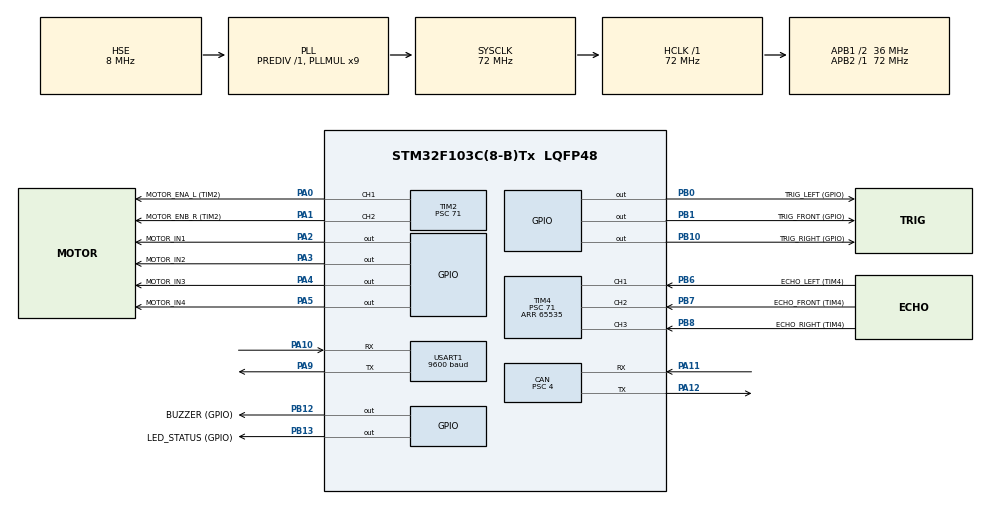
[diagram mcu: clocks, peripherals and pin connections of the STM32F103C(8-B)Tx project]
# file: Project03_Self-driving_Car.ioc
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CAN.BS1=CAN_BS1_15TQ
CAN.BS2=CAN_BS2_2TQ
CAN.CalculateBaudRate=500000
CAN.CalculateTimeBit=2000
CAN.CalculateTimeQuantum=111.11111111111111
CAN.NART=ENABLE
CAN.Prescaler=4
FREERTOS.Mutexes01=DriveModeMutex,Dynamic,NULL,Available
FREERTOS.Tasks01=TrigTask,0,128,StartTrigTask,Default,NULL,Dynamic,NULL,NULL;CtrlTask,1,256,StartCtrlTask,Default,NULL,Dynamic,NULL,NULL;CanRxTask,2,256,StartCanRxTask,As external,NULL,Dynamic,NULL,NULL;CanTxTask,-2,128,StartCanTxTask,As external,NULL,Dynamic,NULL,NULL
FREERTOS.configTOTAL_HEAP_SIZE=10240
Mcu.Family=STM32F1
Mcu.Name=STM32F103C(8-B)Tx
Mcu.Package=LQFP48
NVIC.PriorityGroup=NVIC_PRIORITYGROUP_4
NVIC.TIM4_IRQn=true\:5\:0\:false\:false\:true\:true\:true\:true\:true
NVIC.USART1_IRQn=true\:5\:0\:false\:false\:true\:true\:true\:true\:true
NVIC.USB_LP_CAN1_RX0_IRQn=true\:5\:0\:false\:false\:true\:true\:true\:true\:true
PA0-WKUP.GPIO_Label=MOTOR_ENA_L (TIM2)
PA0-WKUP.Signal=S_TIM2_CH1_ETR
PA1.GPIO_Label=MOTOR_ENB_R (TIM2)
PA1.Signal=S_TIM2_CH2
PA10.Mode=Asynchronous
PA10.Signal=USART1_RX
PA11.GPIO_Mode=GPIO_MODE_INPUT
PA11.GPIO_PuPd=GPIO_NOPULL
PA11.Mode=CAN_Activate
PA11.Signal=CAN_RX
PA12.Mode=CAN_Activate
PA12.Signal=CAN_TX
PA13.Mode=Serial_Wire
PA13.Signal=SYS_JTMS-SWDIO
PA14.Mode=Serial_Wire
PA14.Signal=SYS_JTCK-SWCLK
PA2.GPIO_Label=MOTOR_IN1
PA2.Signal=GPIO_Output
PA3.GPIO_Label=MOTOR_IN2
PA3.Signal=GPIO_Output
PA4.GPIO_Label=MOTOR_IN3
PA4.Signal=GPIO_Output
PA5.GPIO_Label=MOTOR_IN4
PA5.Signal=GPIO_Output
PA9.Mode=Asynchronous
PA9.Signal=USART1_TX
PB0.GPIO_Label=TRIG_LEFT (GPIO)
PB0.Signal=GPIO_Output
PB1.GPIO_Label=TRIG_FRONT (GPIO)
PB1.Signal=GPIO_Output
PB10.GPIO_Label=TRIG_RIGHT (GPIO)
PB10.Signal=GPIO_Output
PB12.GPIO_Label=BUZZER (GPIO)
PB12.Signal=GPIO_Output
PB13.GPIO_Label=LED_STATUS (GPIO)
PB13.Signal=GPIO_Output
PB6.GPIO_Label=ECHO_LEFT (TIM4)
PB6.Signal=S_TIM4_CH1
PB7.GPIO_Label=ECHO_FRONT (TIM4)
PB7.Signal=S_TIM4_CH2
PB8.GPIO_Label=ECHO_RIGHT (TIM4)
PB8.Signal=S_TIM4_CH3
PD0-OSC_IN.Mode=HSE-External-Oscillator
PD0-OSC_IN.Signal=RCC_OSC_IN
PD1-OSC_OUT.Mode=HSE-External-Oscillator
PD1-OSC_OUT.Signal=RCC_OSC_OUT
ProjectManager.HeapSize=0x200
ProjectManager.StackSize=0x400
ProjectManager.TargetToolchain=STM32CubeIDE
RCC.AHBFreq_Value=72000000
RCC.APB1CLKDivider=RCC_HCLK_DIV2
RCC.APB1Freq_Value=36000000
RCC.APB1TimFreq_Value=72000000
RCC.APB2Freq_Value=72000000
RCC.APB2TimFreq_Value=72000000
RCC.HCLKFreq_Value=72000000
RCC.PLLMUL=RCC_PLL_MUL9
RCC.PLLSourceVirtual=RCC_PLLSOURCE_HSE
RCC.SYSCLKFreq_VALUE=72000000
RCC.SYSCLKSource=RCC_SYSCLKSOURCE_PLLCLK
RCC.USBFreq_Value=72000000
SH.S_TIM2_CH1_ETR.0=TIM2_CH1,PWM Generation1 CH1
SH.S_TIM2_CH2.0=TIM2_CH2,PWM Generation2 CH2
SH.S_TIM4_CH1.0=TIM4_CH1,Input_Capture1_from_TI1
SH.S_TIM4_CH2.0=TIM4_CH2,Input_Capture2_from_TI2
SH.S_TIM4_CH3.0=TIM4_CH3,Input_Capture3_from_TI3
TIM2.Channel-PWM\ Generation1\ CH1=TIM_CHANNEL_1
TIM2.Channel-PWM\ Generation2\ CH2=TIM_CHANNEL_2
TIM2.Period=999
TIM2.Prescaler=71
TIM4.Channel-Input_Capture1_from_TI1=TIM_CHANNEL_1
TIM4.Channel-Input_Capture2_from_TI2=TIM_CHANNEL_2
TIM4.Channel-Input_Capture3_from_TI3=TIM_CHANNEL_3
TIM4.Period=65535
TIM4.Prescaler=71
USART1.BaudRate=9600
USART1.VirtualMode=VM_ASYNC
VP_FREERTOS_VS_CMSIS_V1.Mode=CMSIS_V1
board=custom

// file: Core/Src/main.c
/* USER CODE BEGIN Header */
/**
  ******************************************************************************
  * @file           : main.c
  * @brief          : Main program body
  *
  * [수정 사항]
  * 1. AUTOSAR-lite 3계층(ASW/RTE/BSW) 구조로 재편 (ecu_l298n/ecu_hcsr04/
  *    mcal_can/rte_mode_manager/rte_motor/rte_sensor/asw_manual_control/asw_autonomous)
  * 2. 초기화 순서: BSW/ECU(RTE 경유) -> RTE -> BSW/MCAL -> ASW
  * 3. CAN Rx FIFO0 콜백을 mcal_can 모듈로 위임
  * 4. osKernelStart() 이후 도달 불가능한 코드 없음 (Error_Handler 자체가
  *    내부 무한루프이므로 그 아래에는 어떤 코드도 올 수 없음)
  ******************************************************************************
  * @attention
  *
  * Copyright (c) 2026 STMicroelectronics.
  * All rights reserved.
  *
  * This software is licensed under terms that can be found in the LICENSE file
  * in the root directory of this software component.
  * If no LICENSE file comes with this software, it is provided AS-IS.
  *
  ******************************************************************************
  */
/* USER CODE END Header */
#include "main.h"
#include "cmsis_os.h"
#include "can.h"
#include "tim.h"
#include "usart.h"
#include "gpio.h"

/* USER CODE BEGIN Includes */
#include <stdio.h>   /* printf/setvbuf/stdout 사용 */
#include "rte_motor.h"
#include "rte_sensor.h"
#include "mcal_can.h"
#include "rte_mode_manager.h"
#include "asw_manual_control.h"
#include "asw_autonomous.h"
#include "mcal_bt_serial.h"
/* USER CODE END Includes */

void SystemClock_Config(void);
void MX_FREERTOS_Init(void);

int main(void)
{

  /* USER CODE BEGIN 1 */
  /* newlib-nano 기본값은 non-tty stdout을 Full-Buffered로 취급해서
     버퍼가 다 찰 때까지(또는 fflush) printf가 실제로 나가지 않는다.
     임베디드는 exit()이 없으므로 반드시 Unbuffered로 강제해야
     디버그 로그가 즉시 시리얼 터미널에 출력된다. */
  setvbuf(stdout, NULL, _IONBF, 0);
  /* USER CODE END 1 */

  /* MCU Configuration--------------------------------------------------------*/

  /* Reset of all peripherals, Initializes the Flash interface and the Systick. */
  HAL_Init();

  /* Configure the system clock */
  SystemClock_Config();

  /* Initialize all configured peripherals */
  MX_GPIO_Init();
  MX_TIM2_Init();
  MX_TIM4_Init();
  MX_USART1_UART_Init();
  MX_CAN_Init();
  /* USER CODE BEGIN 2 */
  /* ---- 계층 순서대로 초기화: BSW/ECU(RTE 경유) -> RTE -> BSW/MCAL -> ASW ----
   * 1) BSW/ECU : 모터 PWM 시작, 초음파 IC 시작 (하드웨어 최우선 기동, RTE 경유)
   * 2) RTE     : 주행모드 Mutex 준비
   * 3) BSW/MCAL: CAN Mail Queue/필터/인터럽트 준비
   * 4) ASW     : 수동/자율 로직 초기 상태(정지) 세팅
   *
   * RTE_Mode_Init()이 MCAL_CAN_Init()보다 먼저 와야 하는 이유:
   *   CAN RX 인터럽트가 활성화된 순간부터 ASW_Manual_ApplyCanCommand()가
   *   RTE_Mode_SetDriveMode()를 호출할 수 있으므로, Mutex가
   *   미리 생성되어 있어야 함.
   */
  RTE_Motor_Init();
  RTE_Sensor_Init();

  RTE_Mode_Init();
  MCAL_CAN_Init();
  MCAL_BtSerial_Init();

  ASW_Manual_Init();
  ASW_Autonomous_Init();

  printf("\r\n[BOOT] Node2 (STM32F103C8T6) Ready - Mode=MANUAL, CAN=500kbps\r\n");
  /* USER CODE END 2 */

  /* Call init function for freertos objects (in cmsis_os2.c) */
  MX_FREERTOS_Init();

  /* Start scheduler */
  osKernelStart();

  /* We should never get here as control is now taken by the scheduler */

  /* Infinite loop */
  /* USER CODE BEGIN WHILE */
  /* 여기까지 오면 스케줄러 시작 실패 -> 안전하게 정지
     (Error_Handler() 내부가 이미 무한루프이므로 이 아래에는
      어떤 코드도 올 수 없다) */
  Error_Handler();
  /* USER CODE END WHILE */

}

void SystemClock_Config(void)
{
  RCC_OscInitTypeDef RCC_OscInitStruct = {0};
  RCC_ClkInitTypeDef RCC_ClkInitStruct = {0};

  /** Initializes the RCC Oscillators according to the specified parameters
  * in the RCC_OscInitTypeDef structure.
  */
  RCC_OscInitStruct.OscillatorType = RCC_OSCILLATORTYPE_HSE;
  RCC_OscInitStruct.HSEState = RCC_HSE_ON;
  RCC_OscInitStruct.HSEPredivValue = RCC_HSE_PREDIV_DIV1;
  RCC_OscInitStruct.HSIState = RCC_HSI_ON;
  RCC_OscInitStruct.PLL.PLLState = RCC_PLL_ON;
  RCC_OscInitStruct.PLL.PLLSource = RCC_PLLSOURCE_HSE;
  RCC_OscInitStruct.PLL.PLLMUL = RCC_PLL_MUL9;
  if (HAL_RCC_OscConfig(&RCC_OscInitStruct) != HAL_OK)
  {
    Error_Handler();
  }

  /** Initializes the CPU, AHB and APB buses clocks
  */
  RCC_ClkInitStruct.ClockType = RCC_CLOCKTYPE_HCLK|RCC_CLOCKTYPE_SYSCLK
                              |RCC_CLOCKTYPE_PCLK1|RCC_CLOCKTYPE_PCLK2;
  RCC_ClkInitStruct.SYSCLKSource = RCC_SYSCLKSOURCE_PLLCLK;
  RCC_ClkInitStruct.AHBCLKDivider = RCC_SYSCLK_DIV1;
  RCC_ClkInitStruct.APB1CLKDivider = RCC_HCLK_DIV2;
  RCC_ClkInitStruct.APB2CLKDivider = RCC_HCLK_DIV1;

  if (HAL_RCC_ClockConfig(&RCC_ClkInitStruct, FLASH_LATENCY_2) != HAL_OK)
  {
    Error_Handler();
  }
}

/* USER CODE BEGIN 4 */
/**
 * @brief printf 저수준 출력 -> USART1(115200bps)로 1바이트씩 전송.
 *        syscalls.c의 _write()가 호출하는 weak 함수를 여기서 구현해야
 *        printf가 실제로 시리얼 모니터에 출력된다.
 */
int __io_putchar(int ch)
{
    HAL_UART_Transmit(&huart1, (uint8_t *)&ch, 1, HAL_MAX_DELAY);
    return ch;
}

/**
 * @brief TIM4 IC 캡처 콜백 -> rte_sensor(ECU_HCSR04) 모듈로 위임
 */
void HAL_TIM_IC_CaptureCallback(TIM_HandleTypeDef *htim)
{
    RTE_Sensor_HandleCaptureIsr(htim);
}

/**
 * @brief CAN RX FIFO0 메시지 도착 콜백 -> mcal_can 모듈로 위임 (ISR Context)
 */
void HAL_CAN_RxFifo0MsgPendingCallback(CAN_HandleTypeDef *hcan)
{
    MCAL_CAN_HandleRxFifoIsr(hcan);
}

/**
 * @brief USART1 수신 완료 콜백 -> mcal_bt_serial 모듈로 위임 (ISR Context)
 */
void HAL_UART_RxCpltCallback(UART_HandleTypeDef *huart)
{
    MCAL_BtSerial_HandleRxCpltIsr(huart);
}

/**
 * @brief USART1 수신 에러 콜백 -> mcal_bt_serial 모듈로 위임 (ISR Context)
 *        오버런(ORE) 등 에러가 나면 HAL이 수신을 중단해 버리므로,
 *        여기서 에러 플래그를 지우고 수신을 다시 걸어 복구한다.
 */
void HAL_UART_ErrorCallback(UART_HandleTypeDef *huart)
{
    MCAL_BtSerial_HandleErrorIsr(huart);
}
/* USER CODE END 4 */

void Error_Handler(void)
{
  __disable_irq();
  while (1)
  {
  }
}
#ifdef USE_FULL_ASSERT
/**
  * @brief  Reports the name of the source file and the source line number
  *         where the assert_param error has occurred.
  * @param  file: pointer to the source file name
  * @param  line: assert_param error line source number
  * @retval None
  */
void assert_failed(uint8_t *file, uint32_t line)
{
  /* USER CODE BEGIN 6 */
  (void)file;
  (void)line;
  /* USER CODE END 6 */
}
#endif /* USE_FULL_ASSERT */

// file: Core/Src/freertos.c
/* USER CODE BEGIN Header */
/**
  ******************************************************************************
  * File Name          : freertos.c
  * Description        : Code for freertos applications
  *
  * [수정 사항]
  * 1. AUTOSAR-lite 3계층 적용: ASW(asw_*) / RTE(rte_*) / BSW(mcal_*, ecu_*)
  * 2. CanRxTask/CanTxTask 신규 추가 (3-Node CAN 통신)
  * 3. 상태머신(수동/자동) 전환은 rte_mode_manager의 Mutex 보호 전역으로 관리
  * 4. 거리 공유값 volatile 전역 유지 (CtrlTask 갱신 -> CanTxTask 참조)
  * 5. HAL_Delay 전면 배제, osDelay로 태스크 동기화
  ******************************************************************************
  * @attention
  *
  * Copyright (c) 2026 STMicroelectronics.
  * All rights reserved.
  *
  * This software is licensed under terms that can be found in the LICENSE file
  * in the root directory of this software component.
  * If no LICENSE file comes with this software, it is provided AS-IS.
  *
  ******************************************************************************
  */
/* USER CODE END Header */

#include "FreeRTOS.h"
#include "task.h"
#include "main.h"
#include "cmsis_os.h"

/* USER CODE BEGIN Includes */
#include <stdio.h>
#include "rte_motor.h"
#include "rte_sensor.h"
#include "mcal_can.h"
#include "rte_mode_manager.h"
#include "asw_manual_control.h"
#include "asw_autonomous.h"
#include "ecu_hcsr04.h"   /* ECU_HCSR04_SENSOR_* / ECU_HCSR04_DIST_MAX_CM 직접 참조 (허용 예외) */
#include "mcal_bt_serial.h"
/* USER CODE END Includes */

/* USER CODE BEGIN Variables */
/* 공유 거리값 (volatile: CtrlTask가 갱신, CanTxTask가 참조/브로드캐스트) */
volatile uint32_t g_dist_left  = ECU_HCSR04_DIST_MAX_CM;
volatile uint32_t g_dist_front = ECU_HCSR04_DIST_MAX_CM;
volatile uint32_t g_dist_right = ECU_HCSR04_DIST_MAX_CM;
/* USER CODE END Variables */
osThreadId TrigTaskHandle;
osThreadId CtrlTaskHandle;
osThreadId CanRxTaskHandle;
osThreadId CanTxTaskHandle;
osMutexId DriveModeMutexHandle;

/* USER CODE BEGIN FunctionPrototypes */
void StartCanRxTask(void const * argument);
void StartCanTxTask(void const * argument);
/* USER CODE END FunctionPrototypes */

void StartTrigTask(void const * argument);
void StartCtrlTask(void const * argument);
extern void StartCanRxTask(void const * argument);
extern void StartCanTxTask(void const * argument);

void MX_FREERTOS_Init(void); /* (MISRA C 2004 rule 8.1) */

/* GetIdleTaskMemory prototype (linked to static allocation support) */
void vApplicationGetIdleTaskMemory( StaticTask_t **ppxIdleTaskTCBBuffer, StackType_t **ppxIdleTaskStackBuffer, uint32_t *pulIdleTaskStackSize );

/* USER CODE BEGIN GET_IDLE_TASK_MEMORY */
static StaticTask_t xIdleTaskTCBBuffer;
static StackType_t xIdleStack[configMINIMAL_STACK_SIZE];

void vApplicationGetIdleTaskMemory( StaticTask_t **ppxIdleTaskTCBBuffer, StackType_t **ppxIdleTaskStackBuffer, uint32_t *pulIdleTaskStackSize )
{
  *ppxIdleTaskTCBBuffer = &xIdleTaskTCBBuffer;
  *ppxIdleTaskStackBuffer = &xIdleStack[0];
  *pulIdleTaskStackSize = configMINIMAL_STACK_SIZE;
}
/* USER CODE END GET_IDLE_TASK_MEMORY */

void MX_FREERTOS_Init(void) {
  /* USER CODE BEGIN Init */
  /* CAN / TaskManager 관련 RTOS 객체는 osKernelStart() 이전,
     각 Task 진입점 첫 줄에서 초기화하지 않고 여기서 선행 생성한다.
     (Mutex/MailQueue는 Task 생성보다 먼저 준비되어 있어야 ISR/Task 경합 없음) */
  /* USER CODE END Init */
  /* Create the mutex(es) */
  /* definition and creation of DriveModeMutex */
  osMutexDef(DriveModeMutex);
  DriveModeMutexHandle = osMutexCreate(osMutex(DriveModeMutex));

  /* Create the thread(s) */
  /* definition and creation of TrigTask */
  osThreadDef(TrigTask, StartTrigTask, osPriorityNormal, 0, 128);
  TrigTaskHandle = osThreadCreate(osThread(TrigTask), NULL);

  /* definition and creation of CtrlTask */
  osThreadDef(CtrlTask, StartCtrlTask, osPriorityAboveNormal, 0, 256);
  CtrlTaskHandle = osThreadCreate(osThread(CtrlTask), NULL);

  /* definition and creation of CanRxTask */
  osThreadDef(CanRxTask, StartCanRxTask, osPriorityHigh, 0, 256);
  CanRxTaskHandle = osThreadCreate(osThread(CanRxTask), NULL);

  /* definition and creation of CanTxTask */
  osThreadDef(CanTxTask, StartCanTxTask, osPriorityLow, 0, 128);
  CanTxTaskHandle = osThreadCreate(osThread(CanTxTask), NULL);

  /* USER CODE BEGIN RTOS_THREADS */
  /* CanRxTask/CanTxTask는 위 CubeMX 생성 블록에서 이미 생성되므로 여기서
   * 중복 생성하지 않는다 (osThreadDef 중복 정의로 빌드 에러 발생했었음) */
  /* USER CODE END RTOS_THREADS */

}

/* USER CODE BEGIN Header_StartTrigTask */
/**
* @brief 3개 초음파 센서를 순차 트리거하는 태스크.
* @param argument: Not used
* @retval None
*/
/* USER CODE END Header_StartTrigTask */
void StartTrigTask(void const * argument)
{
  /* USER CODE BEGIN StartTrigTask */
  osDelay(200); /* 시스템 안정화 대기 */

  for(;;)
  {
    /* 고정 65ms 대기 대신, 실제 에코가 돌아온 즉시(IsReady) 다음 센서로 넘어간다.
     * 가까운 벽일수록 초음파 왕복시간이 짧아지므로(예: 20cm면 약 1ms), 위험할수록
     * 오히려 갱신이 더 빨라진다. 에코가 안 돌아오는 경우(장애물 없음)에 대비해
     * 65ms를 상한으로 유지해 원래의 타임아웃 안전장치는 그대로 둔다. */
    RTE_Sensor_TriggerSensor(ECU_HCSR04_SENSOR_LEFT);
    for (uint32_t waited = 0u; waited < 65u && !RTE_Sensor_IsReady(ECU_HCSR04_SENSOR_LEFT); waited++)
    {
        osDelay(1);
    }

    RTE_Sensor_TriggerSensor(ECU_HCSR04_SENSOR_FRONT);
    for (uint32_t waited = 0u; waited < 65u && !RTE_Sensor_IsReady(ECU_HCSR04_SENSOR_FRONT); waited++)
    {
        osDelay(1);
    }

    RTE_Sensor_TriggerSensor(ECU_HCSR04_SENSOR_RIGHT);
    for (uint32_t waited = 0u; waited < 65u && !RTE_Sensor_IsReady(ECU_HCSR04_SENSOR_RIGHT); waited++)
    {
        osDelay(1);
    }
  }
  /* USER CODE END StartTrigTask */
}

/* USER CODE BEGIN Header_StartCtrlTask */
/**
* @brief 거리값 갱신 + 현재 주행모드에 따라 수동/자율 로직으로 분기 실행.
* @param argument: Not used
* @retval None
*/
/* USER CODE END Header_StartCtrlTask */
void StartCtrlTask(void const * argument)
{
  /* USER CODE BEGIN StartCtrlTask */
  static uint32_t debugLogCounter = 0; /* 4회에 1번(200ms)만 UART 로그 출력 */

  osDelay(500); /* TrigTask 첫 측정 완료까지 대기 */

  for(;;)
  {
    uint32_t left  = RTE_Sensor_GetDistance(ECU_HCSR04_SENSOR_LEFT);
    uint32_t front = RTE_Sensor_GetDistance(ECU_HCSR04_SENSOR_FRONT);
    uint32_t right = RTE_Sensor_GetDistance(ECU_HCSR04_SENSOR_RIGHT);

    /* CanTxTask가 참조할 수 있도록 공유 전역 갱신 */
    g_dist_left  = left;
    g_dist_front = front;
    g_dist_right = right;

    if ((debugLogCounter++ % 4u) == 0u)
    {
        printf("[US] L=%3lucm F=%3lucm R=%3lucm\r\n",
               (unsigned long)left, (unsigned long)front, (unsigned long)right);

        /* 블루투스 수신 진단은 printf로 찍지 않는다.
         * printf 출력이 나가는 huart1은 HC-06 블루투스와 같은 USART1이라,
         * 로그가 디버그 창이 아니라 휴대폰 앱으로 전송된다. 게다가 9600bps에서는
         * 한 줄(약 30바이트)에 30ms 넘게 블로킹 송신을 하므로 제어주기(50ms)를
         * 심하게 잡아먹는다.
         * 대신 mcal_bt_serial.c의 진단용 카운터(s_rxCount / s_errCount)를
         * STM32CubeIDE의 Live Expressions 창에서 직접 관찰한다. */
    }

    /* 휴대폰 앱 블루투스 명령(모드 전환 포함)은 현재 모드와 무관하게 항상 확인한다 -
     * 자율주행 중에도 'P'를 받으면 바로 수동 전환돼야 하기 때문 */
    ASW_Manual_ApplySerialChar(MCAL_BtSerial_GetChar());

    if (RTE_Mode_GetDriveMode() == RTE_DRIVE_MODE_MANUAL)
    {
        ASW_Manual_ProcessControl();
    }
    else
    {
        ASW_Autonomous_ProcessControl(left, front, right);
    }

    osDelay(50); /* 50ms 제어 주기 */
  }
  /* USER CODE END StartCtrlTask */
}

/* USER CODE BEGIN Application */

/* USER CODE BEGIN Header_StartCanRxTask */
/**
* @brief CAN Mail Queue에서 수신 메시지를 꺼내 ASW_Manual_ApplyCanCommand로 즉시 라우팅.
* @param argument: Not used
* @retval None
*/
/* USER CODE END Header_StartCanRxTask */
void StartCanRxTask(void const * argument)
{
  /* USER CODE BEGIN StartCanRxTask */
  McalCanMsg_t msg;

  for(;;)
  {
    /* Mail Queue가 빌 때까지 블로킹 대기 - ISR(MCAL_CAN_HandleRxFifoIsr)이
     * Put하는 즉시 이 Task가 깨어나 라우팅한다 */
    if (MCAL_CAN_Receive(&msg, osWaitForever) == osOK)
    {
        ASW_Manual_ApplyCanCommand(&msg);
    }
  }
  /* USER CODE END StartCanRxTask */
}

/* USER CODE BEGIN Header_StartCanTxTask */
/**
* @brief 100ms 주기로 현재 주행모드와 거리값을 SLAVE_STATUS(0x200)로 브로드캐스트.
* @param argument: Not used
* @retval None
*/
/* USER CODE END Header_StartCanTxTask */
void StartCanTxTask(void const * argument)
{
  /* USER CODE BEGIN StartCanTxTask */
  for(;;)
  {
    McalCanSlaveState_t state = (RTE_Mode_GetDriveMode() == RTE_DRIVE_MODE_AUTO)
                               ? MCAL_CAN_STATE_AUTO
                               : MCAL_CAN_STATE_MANUAL;

    MCAL_CAN_BroadcastSlaveStatus(state, g_dist_left, g_dist_front, g_dist_right);

    osDelay(100);
  }
  /* USER CODE END StartCanTxTask */
}

/* USER CODE END Application */
